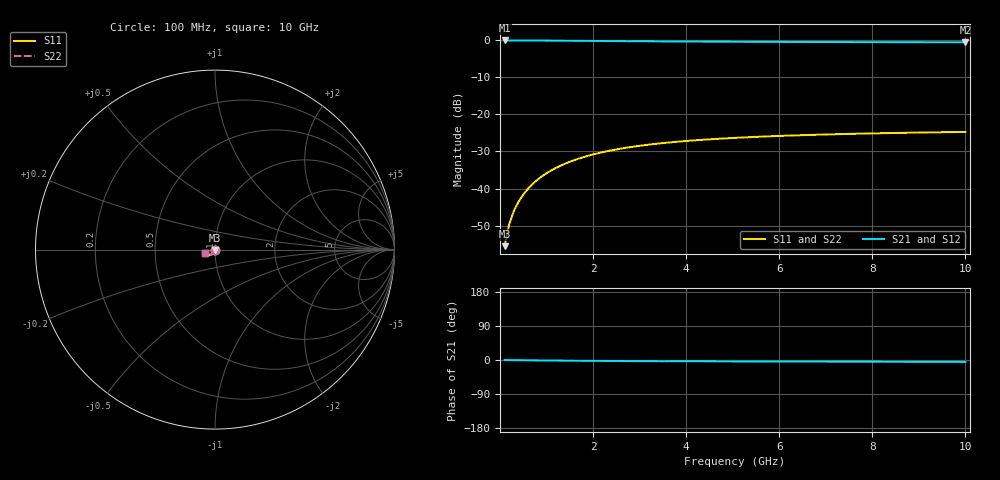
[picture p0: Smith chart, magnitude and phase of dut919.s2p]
! Touchstone file exported from HFSS 2024.1.0
!  File:  C:/UserFiles/LocalFiles/RDL_TSV_Batchsim/temp_TSV1_919_1779945957.aedt
!  Generated:  01:33:13 PM May 28, 2026
!  Design:  TSV1
!  Project:  temp_TSV1_919_1779945957
!  Setup:  Setup1
!  Solution:  Sweep
! Variables:
!  dtsv = 13.75um
!  hbump = 3um
!  htsv = 76.9um
!  lrdl = 252.1521522um
!  p = 40
!  p1 = 48.92um
!  t = 500um
!  trdl = 3um
!  wrdl = 24.89489489um
# GHz S MA R 50.000000
! Terminal data exported
! Port[1] = TSV22_T1
! Port[2] = TSV22_T2
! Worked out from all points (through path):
!   100 points, 100 MHz to 10 GHz, reference 50 ohm
!   highest |S21| = 0.00 dB at 100 MHz (marker M1); lowest = -0.5 dB at 10 GHz (marker M2)
!   lowest |S11| = -55.6 dB at 100 MHz (marker M3), VSWR 1.00, Z = 50 - j0.166 ohm
!   |S11| at or under -10 dB: start of sweep to end of sweep
!   |S22| runs from -55.6 to -24.7 dB; largest |S21 - S12| = 3.1e-15
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0.1  0.001664 -88.8  0.9999 -0.1  0.9999 -0.1  0.001664 -88.8
! Gamma 0 0 0 0
! Port Impedance 50 0 50 0
0.2  0.003326 -91.7  0.9997 -0.3  0.9997 -0.3  0.003326 -91.7
0.3  0.004986 -93.8  0.9994 -0.4  0.9994 -0.4  0.004986 -93.8
0.4  0.006638 -95.7  0.9991 -0.5  0.9991 -0.5  0.006638 -95.7
0.5  0.008275 -97.6  0.9986 -0.7  0.9986 -0.7  0.008275 -97.6
0.6  0.009891 -99.3  0.9981 -0.8  0.9981 -0.8  0.009891 -99.3
0.7  0.01148 -101.0  0.9975 -0.9  0.9975 -0.9  0.01148 -101.0
0.8  0.01304 -102.7  0.9968 -1.1  0.9968 -1.1  0.01304 -102.7
0.9  0.01457 -104.4  0.9961 -1.2  0.9961 -1.2  0.01457 -104.4
1.1  0.01753 -107.5  0.9945 -1.4  0.9945 -1.4  0.01753 -107.5
1.4  0.02167 -112.0  0.9917 -1.7  0.9917 -1.7  0.02167 -112.0
1.6  0.02422 -114.9  0.9897 -1.9  0.9897 -1.9  0.02422 -114.9
1.8  0.02661 -117.5  0.9876 -2.1  0.9876 -2.1  0.02661 -117.5
2.1  0.02988 -121.3  0.9845 -2.3  0.9845 -2.3  0.02988 -121.3
2.5  0.03371 -125.8  0.9804 -2.6  0.9804 -2.6  0.03371 -125.8
2.9  0.03699 -129.8  0.9765 -2.8  0.9765 -2.8  0.03699 -129.8
3.4  0.04045 -134.1  0.972 -3.1  0.972 -3.1  0.04045 -134.1
4.2  0.04482 -140.0  0.9659 -3.4  0.9659 -3.4  0.04482 -140.0
5.1  0.0485 -145.3  0.9604 -3.7  0.9604 -3.7  0.0485 -145.3
6.7  0.05302 -152.5  0.9532 -4.1  0.9532 -4.1  0.05302 -152.5
8.4  0.05613 -158.2  0.9479 -4.6  0.9479 -4.6  0.05613 -158.2
10  0.05812 -162.4  0.9445 -5.1  0.9445 -5.1  0.05812 -162.4
